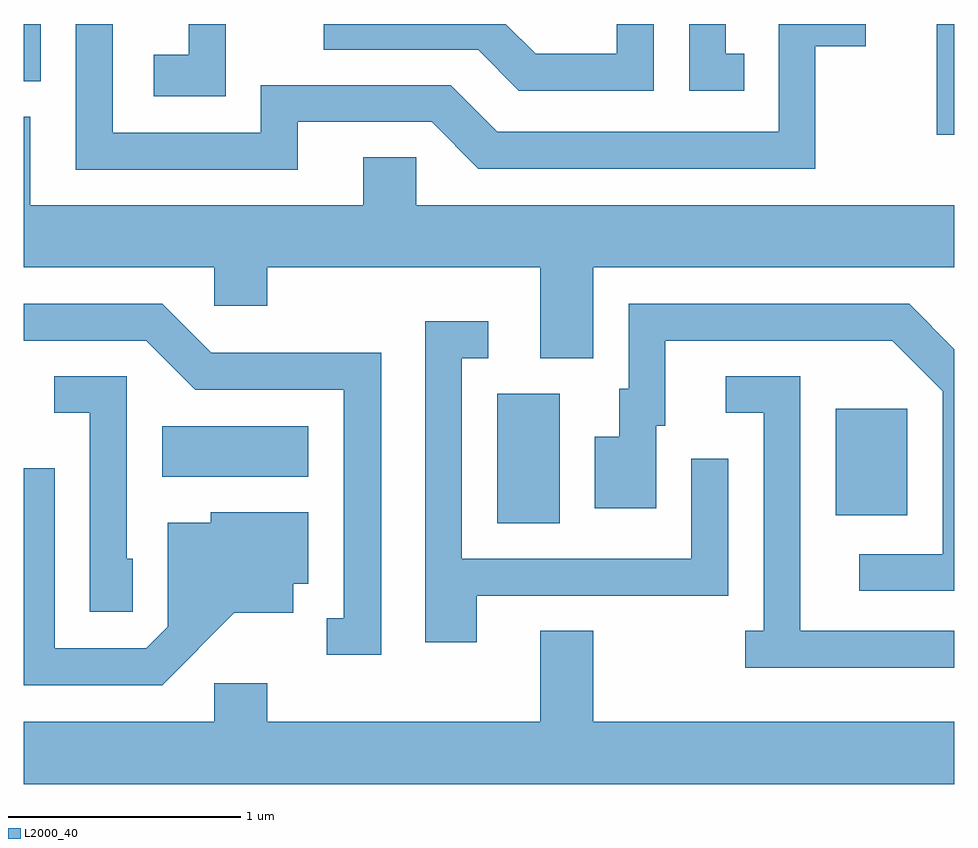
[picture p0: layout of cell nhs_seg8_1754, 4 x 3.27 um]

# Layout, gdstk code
import gdstk
lib = gdstk.Library(unit=1e-6, precision=1e-09)
def R(c, l, rs):  # rectangles x0, y0, x1, y1
    for r in rs: c.add(gdstk.rectangle(r[:2], r[2:], *l))
def P(c, l, *ps):  # polygons
    for p in ps: c.add(gdstk.Polygon(p, *l))
L2000_40 = (2000, 40)

nhs_seg8_1754 = lib.new_cell('nhs_seg8_1754')
R(nhs_seg8_1754, L2000_40, [(239.646,1844.196,239.914,1844.754), (241.101,1844.231,241.409,1844.689), (238.206,1844.396,238.834,1844.614), (241.536,1845.866,241.611,1846.342), (237.611,1846.096,237.684,1846.342)])
P(nhs_seg8_1754, L2000_40, [(240.708,1846.214),(240.629,1846.214),(240.629,1846.342),(240.471,1846.342),(240.471,1846.056),(240.708,1846.056)],
  [(238.789,1845.921),(239.364,1845.921),(239.564,1845.721),(241.014,1845.721),(241.014,1846.246),(241.229,1846.246),(241.229,1846.342),(240.856,1846.342),(240.856,1845.879),(239.647,1845.879),(239.447,1846.079),(238.631,1846.079),(238.631,1845.874),(237.994,1845.874),(237.994,1846.342),(237.836,1846.342),(237.836,1845.716),(238.789,1845.716)],
  [(238.479,1846.342),(238.321,1846.342),(238.321,1846.209),(238.171,1846.209),(238.171,1846.031),(238.479,1846.031)],
  [(240.319,1846.342),(240.161,1846.342),(240.161,1846.214),(239.812,1846.214),(239.684,1846.342),(238.901,1846.342),(238.901,1846.231),(239.564,1846.231),(239.739,1846.056),(240.319,1846.056)],
  [(239.071,1845.769),(239.071,1845.564),(237.639,1845.564),(237.639,1845.944),(237.611,1845.944),(237.611,1845.296),(238.431,1845.296),(238.431,1845.131),(238.659,1845.131),(238.659,1845.296),(239.831,1845.296),(239.831,1844.906),(240.059,1844.906),(240.059,1845.296),(241.611,1845.296),(241.611,1845.564),(239.299,1845.564),(239.299,1845.769)],
  [(241.611,1844.945),(241.417,1845.139),(240.211,1845.139),(240.211,1844.774),(240.171,1844.774),(240.171,1844.569),(240.066,1844.569),(240.066,1844.261),(240.329,1844.261),(240.329,1844.616),(240.369,1844.616),(240.369,1844.981),(241.344,1844.981),(241.561,1844.764),(241.561,1844.064),(241.203,1844.064),(241.203,1843.906),(241.611,1843.906)],
  [(239.149,1844.929),(238.417,1844.929),(238.207,1845.139),(237.611,1845.139),(237.611,1844.981),(238.139,1844.981),(238.349,1844.771),(238.986,1844.771),(238.986,1843.789),(238.913,1843.789),(238.913,1843.631),(239.149,1843.631)],
  [(239.559,1843.886),(240.639,1843.886),(240.639,1844.473),(240.481,1844.473),(240.481,1844.044),(239.494,1844.044),(239.494,1844.906),(239.608,1844.906),(239.608,1845.064),(239.336,1845.064),(239.336,1843.686),(239.559,1843.686)],
  [(241.611,1843.734),(240.949,1843.734),(240.949,1844.829),(240.628,1844.829),(240.628,1844.671),(240.791,1844.671),(240.791,1843.734),(240.713,1843.734),(240.713,1843.576),(241.611,1843.576)],
  [(238.079,1844.044),(238.054,1844.044),(238.054,1844.829),(237.743,1844.829),(237.743,1844.671),(237.896,1844.671),(237.896,1843.816),(238.079,1843.816)],
  [(238.517,1843.811),(238.769,1843.811),(238.769,1843.936),(238.834,1843.936),(238.834,1844.244),(238.416,1844.244),(238.416,1844.199),(238.231,1844.199),(238.231,1843.752),(238.139,1843.659),(237.744,1843.659),(237.744,1844.433),(237.611,1844.433),(237.611,1843.501),(238.207,1843.501)],
  [(241.611,1843.344),(240.059,1843.344),(240.059,1843.734),(239.831,1843.734),(239.831,1843.344),(238.659,1843.344),(238.659,1843.509),(238.431,1843.509),(238.431,1843.344),(237.611,1843.344),(237.611,1843.076),(241.611,1843.076)])

lib.write_gds('nhs_seg8_1754.gds')
